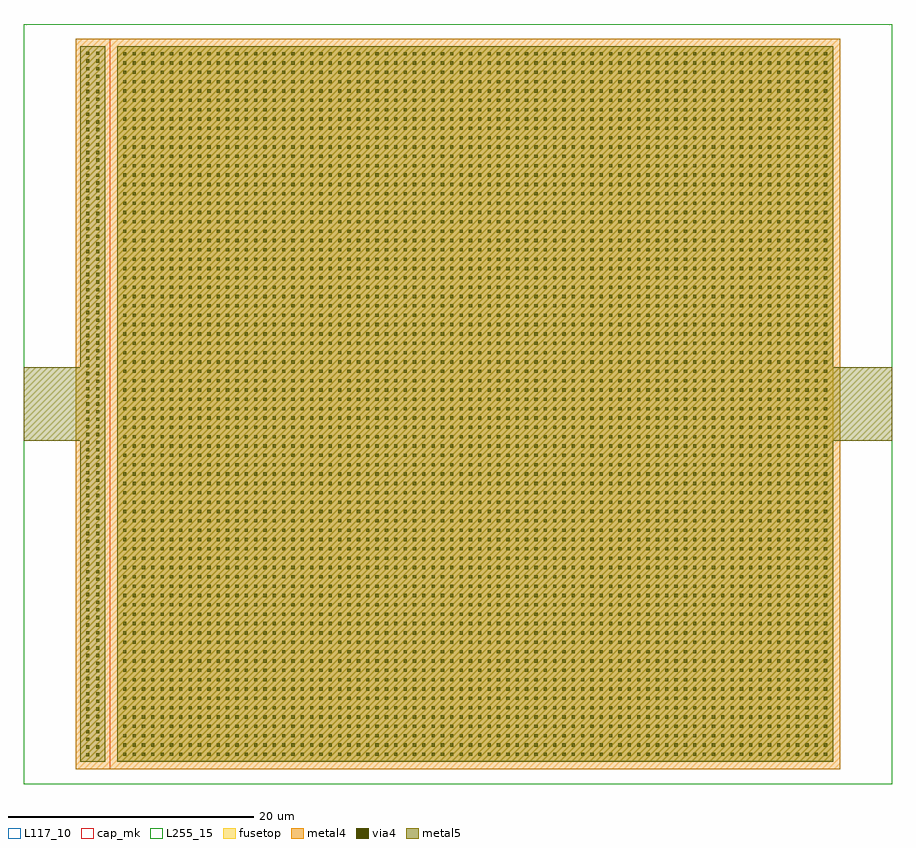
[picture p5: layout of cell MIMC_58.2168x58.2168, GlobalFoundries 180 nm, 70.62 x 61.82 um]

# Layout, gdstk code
import gdstk
lib = gdstk.Library(unit=1e-6, precision=1e-09)
def R(c, l, rs):  # rectangles x0, y0, x1, y1
    for r in rs: c.add(gdstk.rectangle(r[:2], r[2:], *l))
def A(c, l, x, y, w, h, nx, ny, dx, dy):  # array of equal rectangles
    R(c, l, [(x+i*dx, y+j*dy, x+i*dx+w, y+j*dy+h) for i in range(nx) for j in range(ny)])
via4 = (41, 0)
metal4 = (46, 0)
fusetop = (75, 0)
metal5 = (81, 0)
cap_mk = (117, 5)
L117_10 = (117, 10)
L255_15 = (255, 15)

mimc_58_2168x58_2168 = lib.new_cell('MIMC_58.2168x58.2168')
A(mimc_58_2168x58_2168, via4, -2.53, 0.458, 0.26, 0.26, 1, 93, 0, 0.62)
A(mimc_58_2168x58_2168, via4, -1.73, 0.458, 0.26, 0.26, 1, 93, 0, 0.62)
A(mimc_58_2168x58_2168, via4, 0.478, 0.478, 0.26, 0.26, 76, 76, 0.76, 0.76)
R(mimc_58_2168x58_2168, metal4, [(-3.4,-0.6,0,58.817), (-0.6,-0.6,58.816,58.816)])
R(mimc_58_2168x58_2168, fusetop, [(0,0,58.216,58.216)])
R(mimc_58_2168x58_2168, metal5, [(-3,0,-1,58.217), (0,0,58.216,58.216), (-7.6,26.108,-3,32.108), (57.217,26.108,63.017,32.108)])
R(mimc_58_2168x58_2168, cap_mk, [(-0.6,-0.6,58.816,58.816)])
R(mimc_58_2168x58_2168, L117_10, [(0,0,58.216,0.1)])
R(mimc_58_2168x58_2168, L255_15, [(-7.6,-1.8,63.017,60.017)])

lib.write_gds('MIMC_58.2168x58.2168.gds')
